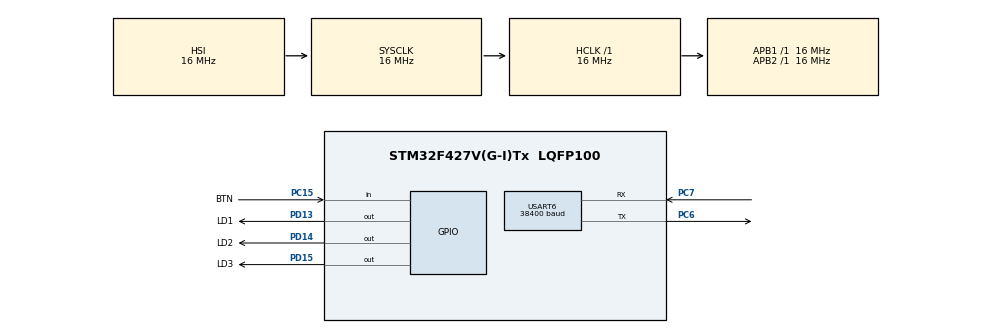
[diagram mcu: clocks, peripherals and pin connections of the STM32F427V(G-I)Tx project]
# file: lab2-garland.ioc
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Mcu.Family=STM32F4
Mcu.Name=STM32F427V(G-I)Tx
Mcu.Package=LQFP100
NVIC.PriorityGroup=NVIC_PRIORITYGROUP_4
NVIC.USART6_IRQn=true\:0\:0\:false\:false\:true\:true\:true\:true
PA13.Mode=JTAG_5_pins
PA13.Signal=SYS_JTMS-SWDIO
PA14.Mode=JTAG_5_pins
PA14.Signal=SYS_JTCK-SWCLK
PA15.Mode=JTAG_5_pins
PA15.Signal=SYS_JTDI
PB3.Mode=JTAG_5_pins
PB3.Signal=SYS_JTDO-SWO
PB4.Mode=JTAG_5_pins
PB4.Signal=SYS_JTRST
PC15/OSC32_OUT.GPIO_Label=BTN
PC15/OSC32_OUT.Signal=GPIO_Input
PC6.Mode=Asynchronous
PC6.Signal=USART6_TX
PC7.Mode=Asynchronous
PC7.Signal=USART6_RX
PD13.GPIO_Label=LD1
PD13.Signal=GPIO_Output
PD14.GPIO_Label=LD2
PD14.Signal=GPIO_Output
PD15.GPIO_Label=LD3
PD15.Signal=GPIO_Output
ProjectManager.HeapSize=0x200
ProjectManager.StackSize=0x400
ProjectManager.TargetToolchain=STM32CubeIDE
RCC.AHBFreq_Value=16000000
RCC.APB1Freq_Value=16000000
RCC.APB2Freq_Value=16000000
RCC.CortexFreq_Value=16000000
RCC.HSE_VALUE=25000000
RCC.HSI_VALUE=16000000
RCC.LSE_VALUE=32768
RCC.SYSCLKFreq_VALUE=16000000
RCC.VCOOutputFreq_Value=192000000
USART6.BaudRate=38400
USART6.VirtualMode=VM_ASYNC
board=custom

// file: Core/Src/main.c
/* USER CODE BEGIN Header */
/**
  ******************************************************************************
  * @file           : main.c
  * @brief          : Main program body
  ******************************************************************************
  * @attention
  *
  * Copyright (c) 2023 STMicroelectronics.
  * All rights reserved.
  *
  * This software is licensed under terms that can be found in the LICENSE file
  * in the root directory of this software component.
  * If no LICENSE file comes with this software, it is provided AS-IS.
  *
  ******************************************************************************
  */
/* USER CODE END Header */
#include "main.h"
#include "usart.h"
#include "gpio.h"

/* USER CODE BEGIN Includes */
#include "stdio.h"
#include "stdbool.h"
#include "string.h"
/* USER CODE END Includes */

/* USER CODE BEGIN PD */
#define UART_TIMEOUT 10
#define BUF_SIZE 1024
/* USER CODE END PD */

void SystemClock_Config(void);

/* USER CODE BEGIN 0 */
extern void initialise_monitor_handles(void);

bool flag = true;
bool pred_flag = true;

void set_green_led(bool on) { HAL_GPIO_WritePin(GPIOD, GPIO_PIN_13, on ? GPIO_PIN_SET : GPIO_PIN_RESET); }

void set_yellow_led(bool on) { HAL_GPIO_WritePin(GPIOD, GPIO_PIN_14, on ? GPIO_PIN_SET : GPIO_PIN_RESET); }

void set_red_led(bool on) { HAL_GPIO_WritePin(GPIOD, GPIO_PIN_15, on ? GPIO_PIN_SET : GPIO_PIN_RESET); }

uint32_t last_pressed_time = 0;

int is_btn_clicked() {
	// GPIO_PIN_RESET means pressed
	if (HAL_GPIO_ReadPin(GPIOC, GPIO_PIN_15) == GPIO_PIN_RESET && HAL_GetTick() - last_pressed_time > 500) {
		last_pressed_time = HAL_GetTick();
		printf("Button pressed\n");
		return 1;
	} else return 0;
}

void set_no_one_led() {
	set_green_led(false);
	set_yellow_led(false);
	set_red_led(false);
}

enum LED {
    LED_NO_ONE = 0,
    LED_RED = 1,
    LED_GREEN = 2,
    LED_YELLOW = 3,
};

struct LightState {
    enum LED color;
    uint32_t timeout;
};

typedef struct LightState LightState;

struct GarlandMode {
    uint8_t light_states_count;
    LightState states[8];
};

typedef struct GarlandMode GarlandMode;
GarlandMode new_mode;

GarlandMode modes[8] = {
		{
			.light_states_count = 3,
            .states = {
                {
                    .color = LED_YELLOW,
                    .timeout = 100,
                },
                {
                    .color = LED_GREEN,
                    .timeout = 100,
                },
				{
				    .color = LED_RED,
				    .timeout = 100,
				}
            }
        },
        {
            .light_states_count = 6,
            .states = {
                {
                    .color = LED_RED,
                    .timeout = 700,
                },
                {
                    .color = LED_NO_ONE,
                    .timeout = 700,
                },
                {
                    .color = LED_YELLOW,
                    .timeout = 700,
                },
                {
                    .color = LED_NO_ONE,
                    .timeout = 700,
                },
                {
                    .color = LED_GREEN,
                    .timeout = 700,
                },
                {
                    .color = LED_NO_ONE,
                    .timeout = 700,
                },
            }
        },
		{
		            .light_states_count = 4,
		            .states = {
		                {
		                    .color = LED_GREEN,
		                    .timeout = 1500,
		                },
		                {
		                    .color = LED_NO_ONE,
		                    .timeout = 1500,
		                },
		                {
		                    .color = LED_RED,
		                    .timeout = 1500,
		                },
		                {
		                    .color = LED_NO_ONE,
		                    .timeout = 1500,
		                },
		            }
		  },
		  {
		            .light_states_count = 5,
		            .states = {
		                {
		                    .color = LED_RED,
		                    .timeout = 2100,
		                },
		                {
		                    .color = LED_YELLOW,
		                    .timeout = 2100,
		                },
		                {
		                    .color = LED_NO_ONE,
		                    .timeout = 2100,
		                },
		                {
		                    .color = LED_GREEN,
		                    .timeout = 2100,
		                },
		                {
		                    .color = LED_NO_ONE,
		                    .timeout = 2100,
		                },
		            }
		   }
};

uint32_t pred_led_numbers[8];
uint32_t start_time, current_time;
uint32_t current_delay;
uint32_t current_mode = 0;
uint32_t current_led_number = 0;
uint8_t MODES_COUNT = 4;
bool remaining_timeouts_input = false;
uint8_t prev_mode_n = 5;

void garland_modes(void){
			current_time = HAL_GetTick();

		  	  if (is_btn_clicked()) {
		  		  pred_led_numbers[current_mode] = current_led_number;
		  		  current_mode = (current_mode + 1) % MODES_COUNT;
		  		  current_delay = modes[current_mode].states[pred_led_numbers[current_mode]].timeout;
		  		  current_led_number = pred_led_numbers[current_mode];

		  		  printf("current_mode - %d\n", current_mode);
		  		  printf("current_delay - %d\n", current_delay);
		  		  printf("current_led_number - %d\n", current_led_number);
		  	  }

		  	  if (current_time - start_time >= current_delay) {
		  		  int modes_count = modes[current_mode].light_states_count;
		  		  if (modes_count <= current_led_number || modes_count < 0) return;
		  		  if (modes[current_mode].states[current_led_number].color == LED_NO_ONE) {
		  				 set_no_one_led();
		  		  }
		  		  else if (modes[current_mode].states[current_led_number].color == LED_RED) {
		  			  	 set_green_led(false);
		  			  	 set_yellow_led(false);
		  				 set_red_led(true);
		  		  }
		  		  else if (modes[current_mode].states[current_led_number].color == LED_GREEN) {
		  			  	 set_red_led(false);
		  			  	 set_yellow_led(false);
		  				 set_green_led(true);
		  		  }
		  		  else {
		  			  	 set_red_led(false);
		  			  	 set_green_led(false);
		  				 set_yellow_led(true);
		  		  }
		  		  current_led_number = (current_led_number + 1) % modes[current_mode].light_states_count;
		  		  start_time = HAL_GetTick();
		  	  }
}

struct RingBuffer {
	char data[BUF_SIZE];
	uint8_t head;
	uint8_t tail;
	bool empty;
};
typedef struct RingBuffer RingBuffer;
static RingBuffer buf_transmit;
static RingBuffer buf_receive;

static void buf_init(RingBuffer *buf) {
  buf->head = 0;
  buf->tail = 0;
  buf->empty = true;
}

static void buf_push(RingBuffer* buf, char* el) {
	pred_flag = flag;
	flag = false;
	  uint64_t size = strlen(el);
	  if (buf->head + size > BUF_SIZE) {
	    buf->head = 0;
	  }

	  strcpy(&buf->data[buf->head], el);
	  buf->head += size;

	  if (buf->head == BUF_SIZE) {
	    buf->head = 0;
	  }

	  buf->empty = false;
	flag = pred_flag;
}

static bool buf_pop(RingBuffer *buf, /* out */ char *el) {
	pred_flag = flag;
		flag = false;
  if (buf->empty) {
    return false;
  }
  uint64_t size = strlen(&buf->data[buf->tail]);

  strcpy(el, &buf->data[buf->tail]);
  buf->tail += size;
 // TODO: почему \0?
  if (buf->tail == BUF_SIZE) {
    buf->tail = 0;
  }

  if (buf->tail == buf->head) {
    buf->empty = true;
  }
  flag = pred_flag;

  return true;
}

struct InterruptStatus {
    bool interrupt_enable;
    uint32_t pmask;
};
typedef struct InterruptStatus InterruptStatus;
static InterruptStatus interrupt_status;

void enable_interrupt(InterruptStatus* status) {
	HAL_UART_Abort(&huart6);
	HAL_UART_Abort_IT(&huart6);
	HAL_NVIC_EnableIRQ(USART6_IRQn);
	status->interrupt_enable = true;
}

void disable_interrupt(InterruptStatus* status) {
	HAL_UART_Abort(&huart6);
	HAL_UART_Abort_IT(&huart6);
	HAL_NVIC_DisableIRQ(USART6_IRQn);
	status->interrupt_enable = false;
}

bool transmit_busy = false;

void transmit_uart(InterruptStatus* status, char* buf, size_t siz) {
	if (status->interrupt_enable) {
		if (transmit_busy) {
			buf_push(&buf_transmit, buf);
		}
		else {
			transmit_busy = true;
			HAL_UART_Transmit_IT(&huart6, buf, siz);
		}
	}
	else {
		// чтобы не прерывало ничего другое наше это ожидание
		pred_flag = flag;
			flag = false;
		HAL_UART_Transmit(&huart6, buf, siz, 100);
		flag = pred_flag;
	}
}

char el;
bool pred_it = false;

void receive_uart(InterruptStatus* status) {
	if (status->interrupt_enable) {
		HAL_UART_Receive_IT(&huart6, (uint8_t*) &el, sizeof(char));
	}
	else {
		HAL_StatusTypeDef stat = HAL_UART_Receive(&huart6, &el, sizeof(char), 0);
		 switch (stat) {
		  case HAL_OK: {
		    if (el != '\r') {
				buf_push(&buf_receive, &el);
				transmit_uart(&interrupt_status, &el, 1);
			}
			else {
				pred_flag = flag;
					flag = false;
					pred_it = status->interrupt_enable;
				handle_command_line();
				//если мы были в без прерываний то true
				//если мы были в прерываниях то пока false меняем в колбеке
				if (transmit_busy) flag = false;
				else flag = true;
			}
		    break;
		  }
		  case HAL_ERROR:
		  case HAL_BUSY:
		  case HAL_TIMEOUT:
		    return;
		  }
	}
}

void transmit_uart_nl(const struct InterruptStatus *status, char *buf, size_t size) {
	pred_flag = flag;
		flag = false;
  transmit_uart(status, buf, size);
  transmit_uart(status, "\r\n", 2);
  flag = pred_flag;
}

bool string_equals(const char * a, const char * b) {
	return strcmp(a, b) == 0;
}

bool starts_with(const char * prefix, const char * str) { return strncmp(prefix, str, strlen(prefix)) == 0; }
char interrupt_enabled_msg[] = {"Interrupts ON"};
char interrupt_disabled_msg[] = {"Interrupts OFF"};
char timeout_input_msg[] = {"Print timeout for new_mode - 100, 500 or 1500"};
char incorrect_command_msg[] = {"No such command"};
char incorrect_parameters_amount_msg[] = {"Parameters amount must be from 2 to 8"};
char incorrect_led_light_msg[] = {"Incorrect led light parameter. Must be: r, g, y or n"};
char incorrect_timeout_msg[] = {"Incorrect timeout"};
char incorrect_mode_number_msg[] = {"Incorrect mode number"};

void handle_new_command(const char* command) {
	const char* const pattern = command + 4; // set pointer after 'new '
	const uint32_t pattern_length = strlen(pattern);
	if (pattern_length < 2 || pattern_length > 8) {
		transmit_uart_nl(&interrupt_status, incorrect_parameters_amount_msg, sizeof(incorrect_parameters_amount_msg));
		return;
	}
	new_mode.light_states_count = pattern_length;
	for (uint8_t i = 0; i < pattern_length; ++i)
		switch (pattern[i]) {
			case 'n':
				new_mode.states[i].color = LED_NO_ONE;
				break;
			case 'r':
				new_mode.states[i].color = LED_RED;
				break;
			case 'g':
				new_mode.states[i].color = LED_GREEN;
				break;
			case 'y':
				new_mode.states[i].color = LED_YELLOW;
				break;
			default:
				transmit_uart_nl(&interrupt_status, incorrect_led_light_msg, sizeof(incorrect_led_light_msg));
				return;
		}
	transmit_uart_nl(&interrupt_status, timeout_input_msg, sizeof(timeout_input_msg));
	remaining_timeouts_input = true;
}

void handle_new_command_timeout(const char* command) {
	uint32_t timeout;
	uint8_t index;
	if (sscanf(command, "%lu", &timeout) != 1) {
		transmit_uart_nl(&interrupt_status, incorrect_timeout_msg, sizeof(incorrect_timeout_msg));
		return;
	}
	if (timeout != 100 && timeout != 500 && timeout != 1500) {
		transmit_uart_nl(&interrupt_status, incorrect_timeout_msg, sizeof(incorrect_timeout_msg));
		return;
	}
	for (uint8_t i = 0; i < new_mode.light_states_count; i++) {
		new_mode.states[i].timeout = timeout;
	}
	if (MODES_COUNT == 8) {
		memcpy(modes + prev_mode_n, &(new_mode), sizeof(new_mode));
		index = prev_mode_n;
		if(prev_mode_n < 8){
			prev_mode_n++;
		}
		else{
			prev_mode_n = 5;
		}
	}
	else {
		memcpy(modes + MODES_COUNT, &(new_mode), sizeof(new_mode));
		index = MODES_COUNT;
		MODES_COUNT++;
	}
	char ind_str[1];
	sprintf(ind_str, "%u", index);
	transmit_uart_nl(&interrupt_status, ind_str, sizeof(ind_str));
	remaining_timeouts_input = false;
}

void set_active_mode(uint8_t mode_number) {
	if (mode_number < MODES_COUNT && mode_number >= 0) {
		//чтобы менять переменные
		pred_flag = flag;
		flag = false;
		pred_led_numbers[current_mode] = current_led_number;
		current_mode = mode_number;
		current_delay = modes[current_mode].states[pred_led_numbers[current_mode]].timeout;
		current_led_number = pred_led_numbers[current_mode];

		printf("current_mode - %d\n", current_mode);
		printf("current_delay - %d\n", current_delay);
		printf("current_led_number - %d\n", current_led_number);
		flag = pred_flag;
	}
	else {
		transmit_uart_nl(&interrupt_status, incorrect_mode_number_msg, sizeof(incorrect_mode_number_msg));
	}
}

void handle_command_line() {
	//чтобы после переключения из прерываний в по опросу он не зависал в ресиве пока все не допереключали
	pred_flag = flag;
	flag = false;
	printf("handle command\n");
	char command[buf_receive.head + 1];
	buf_pop(&buf_receive, command);
	command[sizeof(command) - 1] = '\0';
	printf("%s\n", command);

	if (string_equals("set interrupts on", command)) {
		enable_interrupt(&interrupt_status);
		transmit_uart(&interrupt_status, "\n", 1);
		transmit_uart_nl(&interrupt_status, interrupt_enabled_msg, sizeof(interrupt_enabled_msg));
	}
	else if (string_equals("set interrupts off", command)) {
		disable_interrupt(&interrupt_status);
		transmit_uart(&interrupt_status, "\n", 1);
		transmit_uart_nl(&interrupt_status, interrupt_disabled_msg, sizeof(interrupt_disabled_msg));
	}
	else if (starts_with("set ", command)) {
		transmit_uart(&interrupt_status, "\n", 1);
		const char* const mode_idx_str = command + 4;
		uint32_t mode_idx;
		if ((sscanf(mode_idx_str, "%lu", &mode_idx) == 1)) {
			set_active_mode(mode_idx);
		}
		else {
			transmit_uart_nl(&interrupt_status, incorrect_mode_number_msg, sizeof(incorrect_mode_number_msg));
		}
	}
	else if (starts_with("new ", command)) {
		transmit_uart(&interrupt_status, "\n", 1);
		handle_new_command(command);
	}
	else if (remaining_timeouts_input) {
		transmit_uart(&interrupt_status, "\n", 1);
		handle_new_command_timeout(command);
	}
	else {
		transmit_uart(&interrupt_status, "\n", 1);
		transmit_uart_nl(&interrupt_status, incorrect_command_msg, sizeof(incorrect_command_msg));
	}
	flag = pred_flag;
}

void HAL_UART_RxCpltCallback(UART_HandleTypeDef *huart) {
	pred_flag = flag;
		flag = false;
	if (el != '\r') {
		buf_push(&buf_receive, &el);
		transmit_uart(&interrupt_status, &el, 1);
		flag = pred_flag;
	}
	else {
		handle_command_line();
		flag = true;
	}
}

void HAL_UART_TxCpltCallback(UART_HandleTypeDef *huart) {
	pred_flag = flag;
		flag = false;
  char buf[1024];
  if (buf_pop(&buf_transmit, buf)) {
	 printf("%d\n", strlen(buf));
	 HAL_UART_Transmit_IT(&huart6, buf, strlen(buf));
	 flag = pred_flag;
  } else {
    transmit_busy = false;
    flag = true;
  }

}

/* USER CODE END 0 */

int main(void)
{
  /* USER CODE BEGIN 1 */
  initialise_monitor_handles();
  /* USER CODE END 1 */

  /* MCU Configuration--------------------------------------------------------*/

  /* Reset of all peripherals, Initializes the Flash interface and the Systick. */
  HAL_Init();

  /* Configure the system clock */
  SystemClock_Config();

  /* Initialize all configured peripherals */
  MX_GPIO_Init();
  MX_USART6_UART_Init();

  /* Infinite loop */
  /* USER CODE BEGIN WHILE */

  disable_interrupt(&interrupt_status);
  buf_init(&buf_transmit);
  buf_init(&buf_receive);

  start_time = HAL_GetTick();
  current_delay = modes[0].states[0].timeout;
  pred_led_numbers[0] = modes[0].light_states_count - 1;
  pred_led_numbers[1] = modes[1].light_states_count - 1;
  pred_led_numbers[2] = modes[2].light_states_count - 1;
  pred_led_numbers[3] = modes[3].light_states_count - 1;
  pred_led_numbers[4] = 0;
  pred_led_numbers[5] = 0;
  pred_led_numbers[6] = 0;
  pred_led_numbers[7] = 0;

  /*
  if (interrupt_status.interrupt_enable) {
  	    transmit_uart_nl(&interrupt_status, interrupt_enabled_msg, sizeof(interrupt_disabled_msg));
  } else {
  	    transmit_uart_nl(&interrupt_status, interrupt_disabled_msg, sizeof(interrupt_enabled_msg));
  }
  */
  //HAL_UART_Transmit(&huart6, &buf_transmit, 6, 100);
  while (1)
  {
	  garland_modes();
	  if (flag == true) receive_uart(&interrupt_status);

    /* USER CODE END WHILE */

  }
}

void SystemClock_Config(void)
{
  RCC_OscInitTypeDef RCC_OscInitStruct = {0};
  RCC_ClkInitTypeDef RCC_ClkInitStruct = {0};

  /** Configure the main internal regulator output voltage
  */
  __HAL_RCC_PWR_CLK_ENABLE();
  __HAL_PWR_VOLTAGESCALING_CONFIG(PWR_REGULATOR_VOLTAGE_SCALE3);

  /** Initializes the RCC Oscillators according to the specified parameters
  * in the RCC_OscInitTypeDef structure.
  */
  RCC_OscInitStruct.OscillatorType = RCC_OSCILLATORTYPE_HSI;
  RCC_OscInitStruct.HSIState = RCC_HSI_ON;
  RCC_OscInitStruct.HSICalibrationValue = RCC_HSICALIBRATION_DEFAULT;
  RCC_OscInitStruct.PLL.PLLState = RCC_PLL_NONE;
  if (HAL_RCC_OscConfig(&RCC_OscInitStruct) != HAL_OK)
  {
    Error_Handler();
  }

  /** Initializes the CPU, AHB and APB buses clocks
  */
  RCC_ClkInitStruct.ClockType = RCC_CLOCKTYPE_HCLK|RCC_CLOCKTYPE_SYSCLK
                              |RCC_CLOCKTYPE_PCLK1|RCC_CLOCKTYPE_PCLK2;
  RCC_ClkInitStruct.SYSCLKSource = RCC_SYSCLKSOURCE_HSI;
  RCC_ClkInitStruct.AHBCLKDivider = RCC_SYSCLK_DIV1;
  RCC_ClkInitStruct.APB1CLKDivider = RCC_HCLK_DIV1;
  RCC_ClkInitStruct.APB2CLKDivider = RCC_HCLK_DIV1;

  if (HAL_RCC_ClockConfig(&RCC_ClkInitStruct, FLASH_LATENCY_0) != HAL_OK)
  {
    Error_Handler();
  }
}

void Error_Handler(void)
{
  __disable_irq();
  while (1)
  {
  }
}
